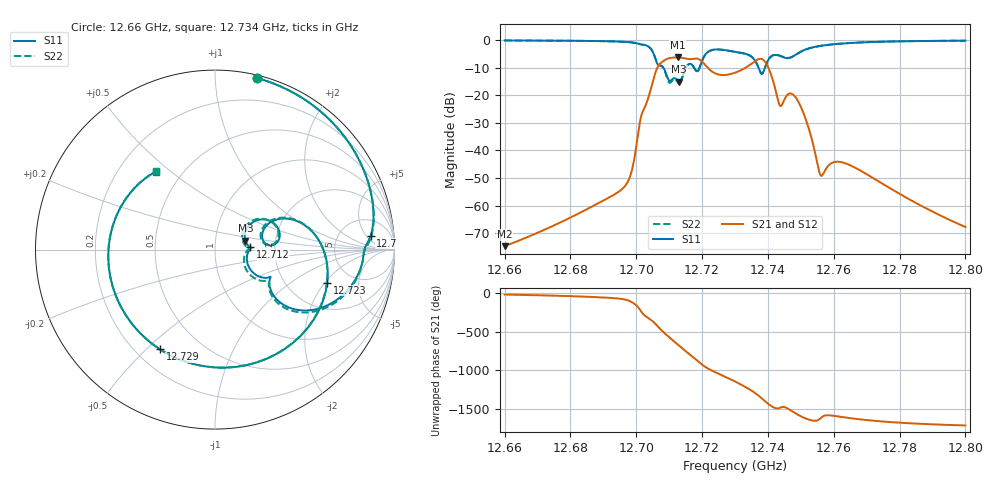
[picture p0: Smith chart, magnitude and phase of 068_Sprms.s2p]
! TOUCHSTONE file generated by CST MICROWAVE STUDIO
! Date and time: Wed Jul 31 14:08:04 2024
! Project name: WaveGuide_BPF-Ver4.1_U-shape_Ku_T3_C4_CWA_2.cst
! Parameters = {cavity_h=16; cavity_l0=10; cavity_l1=15.1717; cavity_l2=16.8349; cavity_l3=17.1139; cavity_l4=17.2633; cavity_l5=17.1685; cavity_l6=17.6225; cavity_r=2.5; cavity_screw_l=0.5; cavity_screw_r=1.5; cavity_w=8; iris_h00=0; iris_h01=8.821; iris_h112=0; iris_h12=5.5942; iris_h211=3.665; ir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
! Header version: 2018
! Port assignment regex: !\s*Touchstone port\s*([0-9]+)\s*=\s*(CST MWS port|CST DS port)\s*([0-9]+|Zmin|Zmax)\s*\(\"(.*)\"\)(\s*mode\s*([0-9]+))?.*
! Touchstone port assignment:
! Touchstone port 1 = CST MWS port 1 ("")
! Touchstone port 2 = CST MWS port 2 ("")
# GHz S RI R 50
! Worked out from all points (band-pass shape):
!   5001 points, 12.66 GHz to 12.8 GHz, reference 50 ohm
!   highest |S21| = -6.28 dB at 12.713 GHz (marker M1); lowest = -74.7 dB at 12.66 GHz (marker M2)
!   |S21| within 3 dB of the highest: 12.70674 GHz to 12.72111 GHz (14.36 MHz wide, 0.113 % of centre); 12.73418 GHz to 12.73984 GHz (5.655 MHz wide, 0.0444 % of centre)
!   lowest |S11| = -15.1 dB at 12.713 GHz (marker M3), VSWR 1.43, Z = 69.9 + j7.23 ohm
!   |S11| at or under -10 dB: 12.70825 GHz to 12.71503 GHz (6.788 MHz wide, 0.0534 % of centre); 12.71761 GHz to 12.71922 GHz (1.604 MHz wide, 0.0126 % of centre); 12.73712 GHz to 12.73911 GHz (1.986 MHz wide, 0.0156 % of centre)
!   |S22| runs from -15.8 to -0.1 dB; largest |S21 - S12| = 1e-09
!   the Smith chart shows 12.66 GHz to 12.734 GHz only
!   S11 on the Smith chart (normalised r, x): 12.66 GHz: 0.02, +1.27; 12.7 GHz: 10, +7; 12.712 GHz: 1.49, +0.04; 12.723 GHz: 3.30, -2.11; 12.729 GHz: 0.30, -0.55; 12.734 GHz: 0.36, +0.44
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12.66  0.2325 0.9563  0.000176 -5.54e-05  0.000176 -5.54e-05  0.2362 0.9553
12.68335  0.5963 0.7626  0.000559 -0.000524  0.000559 -0.000524  0.6013 0.7585
12.6966  0.8622 0.3428  0.000301 -0.00225  0.000301 -0.00225  0.8657 0.3325
12.70026  0.867 0.0779  -0.0148 -0.00321  -0.0148 -0.00321  0.8674 0.0652
12.70668  0.3033 -0.1806  0.0758 -0.3302  0.0758 -0.3302  0.2995 -0.1987
12.70939  0.1912 -0.1017  -0.4526 0.0573  -0.4526 0.0573  0.1723 -0.1076
12.71208  0.1975 0.0131  0.1323 0.4661  0.1323 0.4661  0.1877 0.00801
12.71264  0.1808 0.0275  0.2855 0.3925  0.2855 0.3925  0.1691 0.0217
12.71306  0.1693 0.0501  0.3781 0.3033  0.3781 0.3033  0.1558 0.0449
12.71678  0.3585 0.0637  -0.00524 -0.453  -0.00524 -0.453  0.352 0.0671
12.72269  0.6251 -0.1844  0.0284 0.2767  0.0284 0.2767  0.6239 -0.18
12.72857  -0.3058 -0.5558  0.2039 -0.1296  0.2039 -0.1296  -0.3098 -0.5534
12.73  -0.5207 -0.3243  0.1179 -0.2275  0.1179 -0.2275  -0.5236 -0.3202
12.73389  -0.3304 0.4344  -0.296 -0.1558  -0.296 -0.1558  -0.328 0.4373
12.73776  0.1085 0.2321  -0.0191 0.4585  -0.0191 0.4585  0.1114 0.2343
12.74232  0.5372 -0.0167  0.0817 -0.0936  0.0817 -0.0936  0.5414 -0.022
12.74495  -0.0212 -0.4802  0.0688 -0.0455  0.0688 -0.0455  -0.0118 -0.4885
12.7477  -0.4827 0.1676  -0.0129 -0.1014  -0.0129 -0.1014  -0.4879 0.1473
12.75335  0.6599 0.3176  -0.014 0.00734  -0.014 0.00734  0.658 0.3122
12.76242  0.2399 -0.8304  -0.00583 -0.00185  -0.00583 -0.00185  0.2213 -0.8359
12.77668  -0.7409 -0.5789  -0.00145 0.00157  -0.00145 0.00157  -0.7502 -0.5679
12.8  -0.9701 0.0996  1.76e-05 0.00041  1.76e-05 0.00041  -0.9696 0.1076
